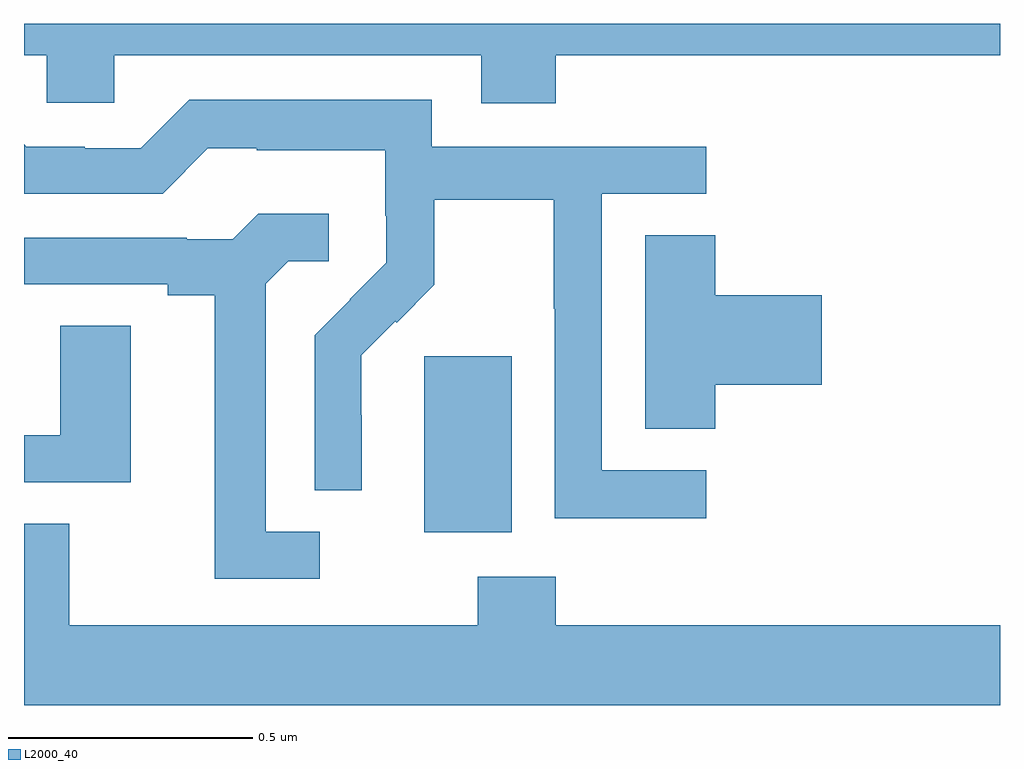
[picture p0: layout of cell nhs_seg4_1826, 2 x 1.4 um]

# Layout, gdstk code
import gdstk
lib = gdstk.Library(unit=1e-6, precision=1e-09)
def R(c, l, rs):  # rectangles x0, y0, x1, y1
    for r in rs: c.add(gdstk.rectangle(r[:2], r[2:], *l))
def P(c, l, *ps):  # polygons
    for p in ps: c.add(gdstk.Polygon(p, *l))
L2000_40 = (2000, 40)

nhs_seg4_1826 = lib.new_cell('nhs_seg4_1826')
R(nhs_seg4_1826, L2000_40, [(133.82,779.858,133.999,780.219)])
P(nhs_seg4_1826, L2000_40, [(134.09,780.836),(135,780.836),(135,780.9),(133,780.9),(133,780.836),(133.047,780.836),(133.047,780.738),(133.185,780.738),(133.185,780.836),(133.937,780.836),(133.937,780.737),(134.09,780.737)],
  [(134.398,779.985),(134.184,779.985),(134.184,780.552),(134.398,780.552),(134.398,780.648),(133.836,780.648),(133.836,780.745),(133.339,780.745),(133.239,780.645),(133.124,780.645),(133.124,780.648),(133.005,780.648),(133,780.653),(133,780.552),(133.284,780.552),(133.377,780.645),(133.477,780.645),(133.477,780.641),(133.74,780.641),(133.74,780.507),(133.742,780.507),(133.742,780.41),(133.668,780.336),(133.669,780.335),(133.596,780.262),(133.596,779.944),(133.692,779.944),(133.692,780.098),(133.691,780.098),(133.691,780.221),(133.761,780.291),(133.764,780.288),(133.841,780.365),(133.841,780.54),(134.086,780.54),(134.086,780.316),(134.088,780.316),(134.088,779.887),(134.398,779.887)],
  [(133.606,779.859),(133.495,779.859),(133.495,780.367),(133.542,780.414),(133.624,780.414),(133.624,780.511),(133.48,780.511),(133.428,780.459),(133.334,780.459),(133.334,780.462),(133,780.462),(133,780.366),(133.295,780.366),(133.295,780.344),(133.391,780.344),(133.391,779.763),(133.606,779.763)],
  [(134.417,780.161),(134.635,780.161),(134.635,780.344),(134.417,780.344),(134.417,780.467),(134.273,780.467),(134.273,780.07),(134.417,780.07)],
  [(133.219,780.281),(133.074,780.281),(133.074,780.057),(133,780.057),(133,779.961),(133.219,779.961)],
  [(135,779.668),(134.09,779.668),(134.09,779.767),(133.93,779.767),(133.93,779.668),(133.093,779.668),(133.093,779.876),(133,779.876),(133,779.504),(135,779.504)])

lib.write_gds('nhs_seg4_1826.gds')
